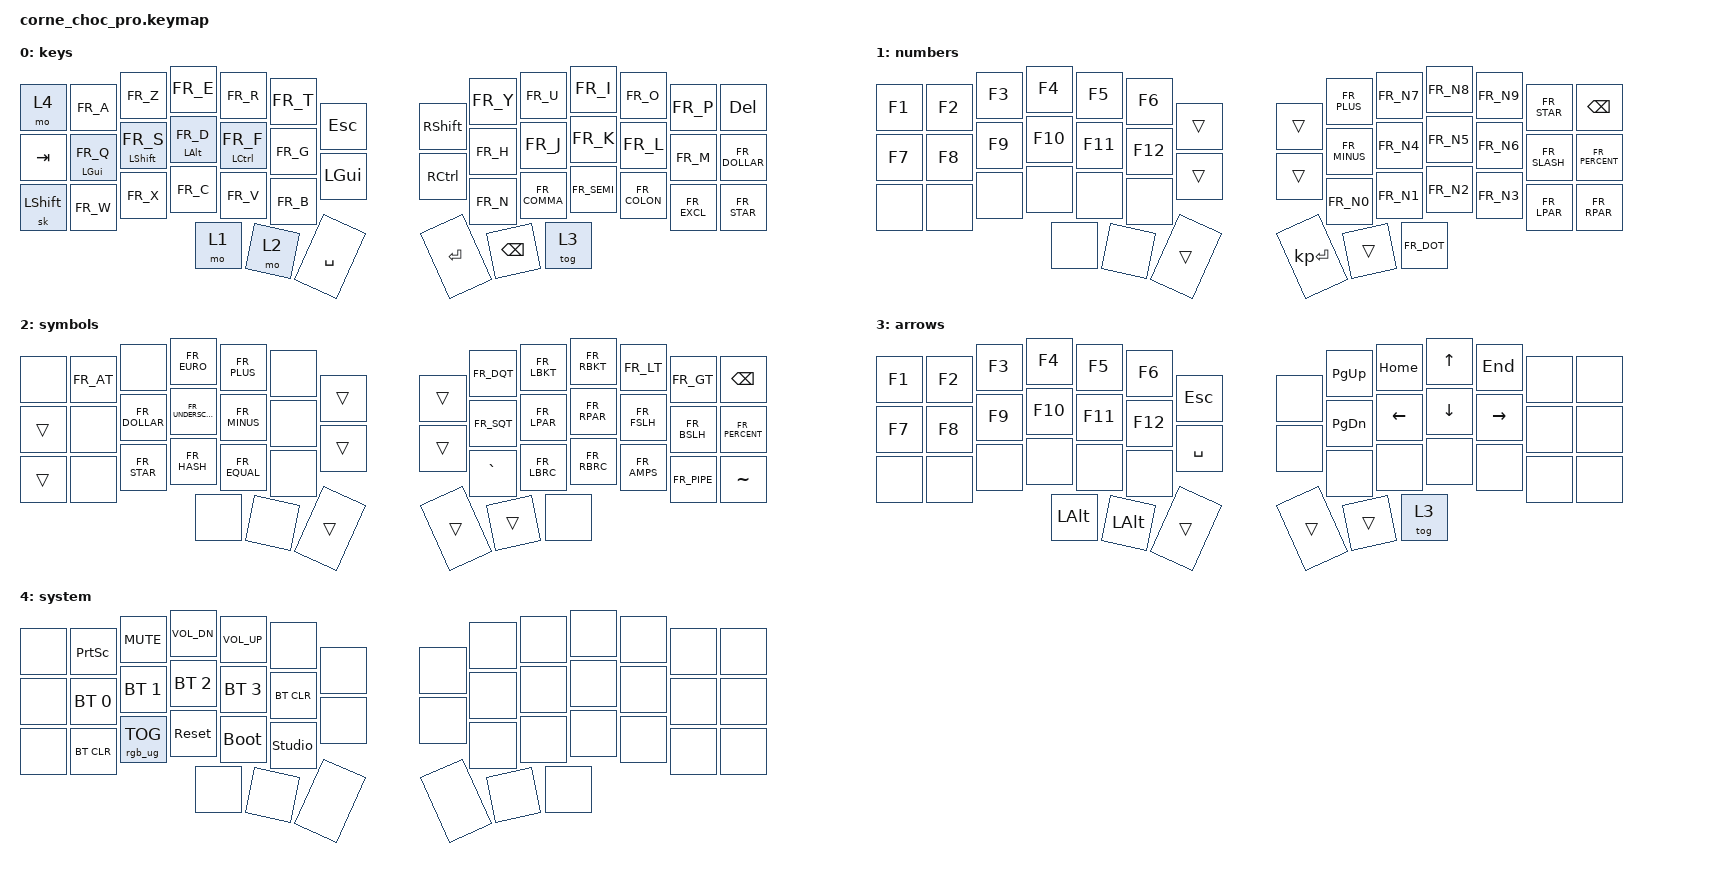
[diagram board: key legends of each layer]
/*
 * Copyright (c) 2020 The ZMK Contributors
 *
 * SPDX-License-Identifier: MIT
 */

#include "keys_fr.h"
#include <behaviors.dtsi>
#include <dt-bindings/zmk/bt.h>
#include <dt-bindings/zmk/keys.h>
#include <dt-bindings/zmk/rgb.h>

&mt { flavor = "tap-preferred"; };

/ {
    combos {
        compatible = "zmk,combos";

        esc-gh {
            bindings = <&kp ESC>;
            key-positions = <19 22>;
            layers = <0>;
        };
    };

    keymap {
        compatible = "zmk,keymap";

        default_layer {
            display-name = "keys";
            bindings = <
&mo 4      &kp FR_A       &kp FR_Z         &kp FR_E       &kp FR_R        &kp FR_T   &kp ESC   &kp RSHIFT  &kp FR_Y  &kp FR_U      &kp FR_I     &kp FR_O      &kp FR_P     &kp DEL
&kp TAB    &mt LGUI FR_Q  &mt LSHIFT FR_S  &mt LALT FR_D  &mt LCTRL FR_F  &kp FR_G   &kp LGUI  &kp RCTRL   &kp FR_H  &kp FR_J      &kp FR_K     &kp FR_L      &kp FR_M     &kp FR_DOLLAR
&sk LSHFT  &kp FR_W       &kp FR_X         &kp FR_C       &kp FR_V        &kp FR_B                         &kp FR_N  &kp FR_COMMA  &kp FR_SEMI  &kp FR_COLON  &kp FR_EXCL  &kp FR_STAR
                                           &mo 1          &mo 2           &kp SPACE                        &kp RET   &kp BSPC      &tog 3
            >;
        };

        lower_layer {
            display-name = "numbers";
            bindings = <
&kp F1  &kp F2  &kp F3  &kp F4   &kp F5   &kp F6   &trans  &trans  &kp FR_PLUS   &kp FR_N7  &kp FR_N8   &kp FR_N9  &kp FR_STAR   &kp BSPC
&kp F7  &kp F8  &kp F9  &kp F10  &kp F11  &kp F12  &trans  &trans  &kp FR_MINUS  &kp FR_N4  &kp FR_N5   &kp FR_N6  &kp FR_SLASH  &kp FR_PERCENT
&none   &none   &none   &none    &none    &none                    &kp FR_N0     &kp FR_N1  &kp FR_N2   &kp FR_N3  &kp FR_LPAR   &kp FR_RPAR
                        &none    &none    &trans                   &kp KP_ENTER  &trans     &kp FR_DOT
            >;
        };

        raise_layer {
            display-name = "symbols";
            bindings = <
&none   &kp FR_AT  &none          &kp FR_EURO        &kp FR_PLUS   &none   &trans  &trans  &kp FR_DQT  &kp FR_LBKT  &kp FR_RBKT  &kp FR_LT    &kp FR_GT    &kp BSPC
&trans  &none      &kp FR_DOLLAR  &kp FR_UNDERSCORE  &kp FR_MINUS  &none   &trans  &trans  &kp FR_SQT  &kp FR_LPAR  &kp FR_RPAR  &kp FR_FSLH  &kp FR_BSLH  &kp FR_PERCENT
&trans  &none      &kp FR_STAR    &kp FR_HASH        &kp FR_EQUAL  &none                   &kp GRAVE   &kp FR_LBRC  &kp FR_RBRC  &kp FR_AMPS  &kp FR_PIPE  &kp TILDE
                                  &none              &none         &trans                  &trans      &trans       &none
            >;
        };

        extra_layer_1 {
            display-name = "arrows";
            bindings = <
&kp F1  &kp F2  &kp F3  &kp F4    &kp F5        &kp F6   &kp ESC    &none  &kp PAGE_UP  &kp HOME  &kp UP    &kp END    &none  &none
&kp F7  &kp F8  &kp F9  &kp F10   &kp F11       &kp F12  &kp SPACE  &none  &kp PG_DN    &kp LEFT  &kp DOWN  &kp RIGHT  &none  &none
&none   &none   &none   &none     &none         &none                      &none        &none     &none     &none      &none  &none
                        &kp LALT  &kp LEFT_ALT  &trans                     &trans       &trans    &tog 3
            >;
        };

        extra_layer_2 {
            display-name = "system";
            bindings = <
&none  &kp PSCRN     &kp C_MUTE       &kp C_VOL_DN  &kp C_VOL_UP  &none           &none  &none  &none  &none  &none  &none  &none  &none
&none  &bt BT_SEL 0  &bt BT_SEL 1     &bt BT_SEL 2  &bt BT_SEL 3  &bt BT_CLR      &none  &none  &none  &none  &none  &none  &none  &none
&none  &bt BT_CLR    &rgb_ug RGB_TOG  &sys_reset    &bootloader   &studio_unlock                &none  &none  &none  &none  &none  &none
                                      &none         &none         &none                         &none  &none  &none
            >;
        };
    };
};
